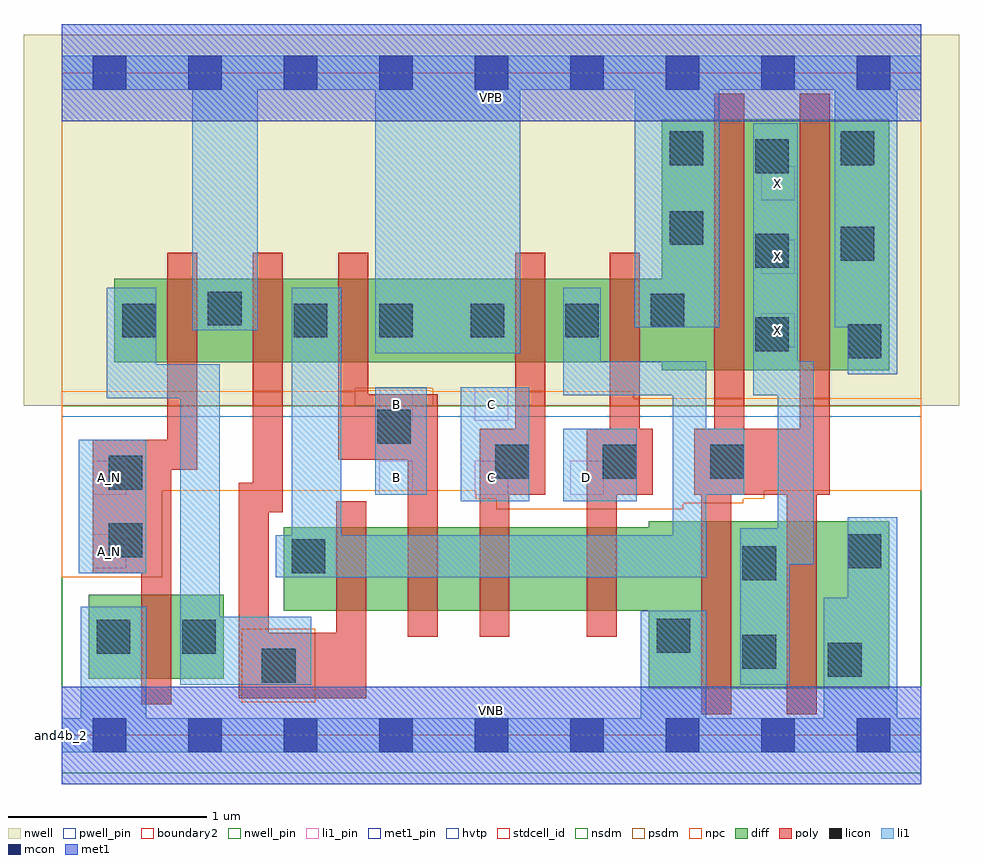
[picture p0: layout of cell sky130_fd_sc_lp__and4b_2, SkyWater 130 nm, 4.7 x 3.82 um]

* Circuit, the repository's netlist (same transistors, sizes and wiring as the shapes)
* Copyright 2020 The SkyWater PDK Authors
*
* Licensed under the Apache License, Version 2.0 (the "License");
* you may not use this file except in compliance with the License.
* You may obtain a copy of the License at
*
*     https://www.apache.org/licenses/LICENSE-2.0
*
* Unless required by applicable law or agreed to in writing, software
* distributed under the License is distributed on an "AS IS" BASIS,
* WITHOUT WARRANTIES OR CONDITIONS OF ANY KIND, either express or implied.
* See the License for the specific language governing permissions and
* limitations under the License.
*
* SPDX-License-Identifier: Apache-2.0

.SUBCKT sky130_fd_sc_lp__and4b_2 A_N B C D VGND VNB VPB VPWR X
*.PININFO A_N:I B:I C:I D:I VGND:I VNB:I VPB:I VPWR:I X:O
MMP0 y A VPWR VPB sky130_fd_pr__pfet_01v8_hvt m=1 w=0.42U l=0.15U mult=1 sa=0.265
+ sb=0.265 sd=0.28 area=0.063 perim=1.14
MMP1 y B VPWR VPB sky130_fd_pr__pfet_01v8_hvt m=1 w=0.42U l=0.15U mult=1 sa=0.265
+ sb=0.265 sd=0.28 area=0.063 perim=1.14
MMP2 y C VPWR VPB sky130_fd_pr__pfet_01v8_hvt m=1 w=0.42U l=0.15U mult=1 sa=0.265
+ sb=0.265 sd=0.28 area=0.063 perim=1.14
MMP3 y D VPWR VPB sky130_fd_pr__pfet_01v8_hvt m=1 w=0.42U l=0.15U mult=1 sa=0.265
+ sb=0.265 sd=0.28 area=0.063 perim=1.14
MMIP0 A A_N VPWR VPB sky130_fd_pr__pfet_01v8_hvt m=1 w=0.42U l=0.15U mult=1 sa=0.265
+ sb=0.265 sd=0.28 area=0.063 perim=1.14
MMIP1 X y VPWR VPB sky130_fd_pr__pfet_01v8_hvt m=2 w=1.26U l=0.15U mult=1 sa=0.265
+ sb=0.265 sd=0.28 area=0.063 perim=1.14
MMN0 y A sndA VNB sky130_fd_pr__nfet_01v8 m=1 w=0.42U l=0.15U mult=1 sa=0.265 sb=0.265
+ sd=0.28 area=0.063 perim=1.14
MMN1 sndA B sndB VNB sky130_fd_pr__nfet_01v8 m=1 w=0.42U l=0.15U mult=1 sa=0.265
+ sb=0.265 sd=0.28 area=0.063 perim=1.14
MMN2 sndB C sndC VNB sky130_fd_pr__nfet_01v8 m=1 w=0.42U l=0.15U mult=1 sa=0.265
+ sb=0.265 sd=0.28 area=0.063 perim=1.14
MMN3 sndC D VGND VNB sky130_fd_pr__nfet_01v8 m=1 w=0.42U l=0.15U mult=1 sa=0.265
+ sb=0.265 sd=0.28 area=0.063 perim=1.14
MMIN0 A A_N VGND VNB sky130_fd_pr__nfet_01v8 m=1 w=0.42U l=0.15U mult=1 sa=0.265
+ sb=0.265 sd=0.28 area=0.063 perim=1.14
MMIN1 X y VGND VNB sky130_fd_pr__nfet_01v8 m=2 w=0.84U l=0.15U mult=1 sa=0.265
+ sb=0.265 sd=0.28 area=0.063 perim=1.14
.ENDS sky130_fd_sc_lp__and4b_2

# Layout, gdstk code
import gdstk
lib = gdstk.Library(unit=1e-6, precision=1e-09)
def R(c, l, rs):  # rectangles x0, y0, x1, y1
    for r in rs: c.add(gdstk.rectangle(r[:2], r[2:], *l))
def A(c, l, x, y, w, h, nx, ny, dx, dy):  # array of equal rectangles
    R(c, l, [(x+i*dx, y+j*dy, x+i*dx+w, y+j*dy+h) for i in range(nx) for j in range(ny)])
def P(c, l, *ps):  # polygons
    for p in ps: c.add(gdstk.Polygon(p, *l))
nwell_pin = (64, 16)
nwell = (64, 20)
diff = (65, 20)
poly = (66, 20)
licon = (66, 44)
li1_pin = (67, 16)
li1 = (67, 20)
mcon = (67, 44)
met1_pin = (68, 16)
met1 = (68, 20)
hvtp = (78, 44)
stdcell_id = (81, 4)
nsdm = (93, 44)
psdm = (94, 20)
npc = (95, 20)
pwell_pin = (122, 16)
boundary2 = (236, 0)

sky130_fd_sc_lp__and4b_2 = lib.new_cell('sky130_fd_sc_lp__and4b_2')
R(sky130_fd_sc_lp__and4b_2, nwell_pin, [(0,3.085,4.32,3.33)])
R(sky130_fd_sc_lp__and4b_2, nwell, [(-0.19,1.655,4.51,3.52)])
R(sky130_fd_sc_lp__and4b_2, diff, [(0.135,0.285,0.815,0.705)])
P(sky130_fd_sc_lp__and4b_2, diff, [(4.16,3.095),(3.015,3.095),(3.015,2.295),(0.265,2.295),(0.265,1.875),(3.015,1.875),(3.015,1.835),(4.16,1.835)],
  [(4.16,1.075),(2.95,1.075),(2.95,1.045),(1.115,1.045),(1.115,0.625),(2.95,0.625),(2.95,0.235),(4.16,0.235)])
P(sky130_fd_sc_lp__and4b_2, poly, [(0.68,2.425),(0.53,2.425),(0.53,1.485),(0.155,1.485),(0.155,0.815),(0.4,0.815),(0.4,0.155),(0.55,0.155),(0.55,1.335),(0.68,1.335)],
  [(1.53,1.175),(1.38,1.175),(1.38,0.515),(1.04,0.515),(1.04,1.12),(1.11,1.12),(1.11,2.425),(0.96,2.425),(0.96,1.27),(0.89,1.27),(0.89,0.185),(1.53,0.185)],
  [(1.89,1.715),(1.54,1.715),(1.54,2.425),(1.39,2.425),(1.39,1.385),(1.74,1.385),(1.74,0.495),(1.89,0.495)],
  [(2.43,2.425),(2.28,2.425),(2.28,1.54),(2.1,1.54),(2.1,0.495),(2.25,0.495),(2.25,1.21),(2.43,1.21)],
  [(2.97,1.54),(2.905,1.54),(2.905,2.425),(2.755,2.425),(2.755,1.54),(2.64,1.54),(2.64,0.495),(2.79,0.495),(2.79,1.21),(2.97,1.21)],
  [(3.86,3.225),(3.71,3.225),(3.71,1.54),(3.43,1.54),(3.43,3.225),(3.28,3.225),(3.28,1.54),(3.18,1.54),(3.18,1.21),(3.215,1.21),(3.215,0.105),(3.365,0.105),(3.365,1.21),(3.645,1.21),(3.645,0.105),(3.795,0.105),(3.795,1.21),(3.86,1.21)])
A(sky130_fd_sc_lp__and4b_2, licon, 2.18, 1.29, 0.17, 0.17, 3, 1, 0.54, 0)
R(sky130_fd_sc_lp__and4b_2, licon, [(1.005,0.265,1.175,0.435), (3.85,0.295,4.02,0.465), (3.42,0.335,3.59,0.505), (0.175,0.41,0.345,0.58), (0.605,0.41,0.775,0.58), (2.99,0.415,3.16,0.585), (3.42,0.78,3.59,0.95), (1.155,0.815,1.325,0.985), (3.95,0.84,4.12,1.01), (0.235,0.895,0.405,1.065), (0.235,1.235,0.405,1.405), (1.585,1.465,1.755,1.635), (3.95,1.895,4.12,2.065), (3.485,1.93,3.655,2.1), (0.305,2,0.475,2.17), (1.165,2,1.335,2.17), (1.595,2,1.765,2.17), (2.055,2,2.225,2.17), (2.53,2,2.7,2.17), (2.96,2.05,3.13,2.22), (0.735,2.06,0.905,2.23), (3.485,2.35,3.655,2.52), (3.915,2.385,4.085,2.555), (3.055,2.465,3.225,2.635), (3.485,2.825,3.655,2.995), (3.055,2.865,3.225,3.035), (3.915,2.865,4.085,3.035)])
A(sky130_fd_sc_lp__and4b_2, li1_pin, 1.595, 1.21, 0.17, 0.17, 3, 1, 0.48, 0)
A(sky130_fd_sc_lp__and4b_2, li1_pin, 3.515, 1.95, 0.17, 0.17, 1, 3, 0, 0.37)
R(sky130_fd_sc_lp__and4b_2, li1_pin, [(0.155,0.84,0.325,1.01), (0.155,1.21,0.325,1.38), (1.595,1.58,1.765,1.75), (2.075,1.58,2.245,1.75)])
R(sky130_fd_sc_lp__and4b_2, li1, [(0.085,0.815,0.425,1.485), (2.005,1.175,2.35,1.75), (2.52,1.175,2.89,1.54), (1.575,1.21,1.835,1.75)])
P(sky130_fd_sc_lp__and4b_2, li1, [(4.32,3.415),(0,3.415),(0,3.245),(0.655,3.245),(0.655,2.035),(0.985,2.035),(0.985,3.245),(1.575,3.245),(1.575,1.92),(2.305,1.92),(2.305,3.245),(2.88,3.245),(2.88,2.05),(3.305,2.05),(3.305,3.245),(3.885,3.245),(3.885,2.05),(3.95,2.05),(3.95,1.815),(4.2,1.815),(4.2,3.245),(4.32,3.245)],
  [(4.32,0.085),(4.2,0.085),(4.2,1.095),(3.95,1.095),(3.95,0.69),(3.83,0.69),(3.83,0.085),(3.24,0.085),(3.24,0.625),(2.91,0.625),(2.91,0.085),(0.425,0.085),(0.425,0.645),(0.095,0.645),(0.095,0.085),(0,0.085),(0,-0.085),(4.32,-0.085)],
  [(0.595,0.255),(0.595,1.695),(0.225,1.695),(0.225,2.25),(0.475,2.25),(0.475,1.865),(0.795,1.865),(0.795,0.595),(1.255,0.595),(1.255,0.255)],
  [(3.78,1.88),(3.7,1.88),(3.7,3.075),(3.475,3.075),(3.475,1.71),(3.6,1.71),(3.6,1.04),(3.41,1.04),(3.41,0.255),(3.66,0.255),(3.66,0.86),(3.78,0.86)],
  [(2.71,1.88),(3.24,1.88),(3.24,1.54),(3.43,1.54),(3.43,1.21),(3.24,1.21),(3.24,0.795),(1.075,0.795),(1.075,1.005),(1.155,1.005),(1.155,2.25),(1.405,2.25),(1.405,1.005),(3.07,1.005),(3.07,1.71),(2.52,1.71),(2.52,2.25),(2.71,2.25)])
A(sky130_fd_sc_lp__and4b_2, mcon, 0.155, -0.085, 0.17, 0.17, 9, 2, 0.48, 3.33)
R(sky130_fd_sc_lp__and4b_2, met1_pin, [(0,0,4.32,0.245), (0,3.085,4.32,3.33)])
R(sky130_fd_sc_lp__and4b_2, met1, [(0,-0.245,4.32,0.245), (0,3.085,4.32,3.575)])
R(sky130_fd_sc_lp__and4b_2, hvtp, [(0,1.6,4.32,3.33)])
R(sky130_fd_sc_lp__and4b_2, stdcell_id, [(0,0,4.32,3.33)])
R(sky130_fd_sc_lp__and4b_2, nsdm, [(0,-0.19,4.32,1.655)])
P(sky130_fd_sc_lp__and4b_2, psdm, [(4.32,3.52),(0,3.52),(0,1.655),(1.475,1.655),(1.475,1.745),(1.865,1.745),(1.865,1.655),(4.32,1.655)])
R(sky130_fd_sc_lp__and4b_2, npc, [(0.905,0.165,1.275,0.535)])
P(sky130_fd_sc_lp__and4b_2, npc, [(4.32,1.695),(2.875,1.695),(2.875,1.73),(1.855,1.73),(1.855,1.735),(1.485,1.735),(1.485,1.73),(0,1.73),(0,0.795),(0.505,0.795),(0.505,1.23),(2.08,1.23),(2.08,1.19),(2.185,1.19),(2.185,1.135),(3.125,1.135),(3.125,1.165),(3.425,1.165),(3.425,1.19),(3.53,1.19),(3.53,1.23),(4.32,1.23)])
R(sky130_fd_sc_lp__and4b_2, pwell_pin, [(0,0,4.32,0.245)])
R(sky130_fd_sc_lp__and4b_2, boundary2, [(0,0,4.32,3.33)])
sky130_fd_sc_lp__and4b_2.add(gdstk.Label('VNB', (2.16,0.123), layer=64, texttype=59))
sky130_fd_sc_lp__and4b_2.add(gdstk.Label('VPB', (2.16,3.208), layer=64, texttype=5))
sky130_fd_sc_lp__and4b_2.add(gdstk.Label('and4b_2', (0,0), layer=83, texttype=44))
sky130_fd_sc_lp__and4b_2.add(gdstk.Label('VPWR', (2.16,3.208), layer=68, texttype=5))
sky130_fd_sc_lp__and4b_2.add(gdstk.Label('VGND', (2.16,0.123), layer=68, texttype=5))
sky130_fd_sc_lp__and4b_2.add(gdstk.Label('X', (3.6,2.035), layer=67, texttype=5))
sky130_fd_sc_lp__and4b_2.add(gdstk.Label('X', (3.6,2.405), layer=67, texttype=5))
sky130_fd_sc_lp__and4b_2.add(gdstk.Label('X', (3.6,2.775), layer=67, texttype=5))
sky130_fd_sc_lp__and4b_2.add(gdstk.Label('B', (1.68,1.295), layer=67, texttype=5))
sky130_fd_sc_lp__and4b_2.add(gdstk.Label('B', (1.68,1.665), layer=67, texttype=5))
sky130_fd_sc_lp__and4b_2.add(gdstk.Label('C', (2.16,1.295), layer=67, texttype=5))
sky130_fd_sc_lp__and4b_2.add(gdstk.Label('C', (2.16,1.665), layer=67, texttype=5))
sky130_fd_sc_lp__and4b_2.add(gdstk.Label('A_N', (0.24,0.925), layer=67, texttype=5))
sky130_fd_sc_lp__and4b_2.add(gdstk.Label('A_N', (0.24,1.295), layer=67, texttype=5))
sky130_fd_sc_lp__and4b_2.add(gdstk.Label('D', (2.64,1.295), layer=67, texttype=5))

lib.write_gds('sky130_fd_sc_lp__and4b_2.gds')
